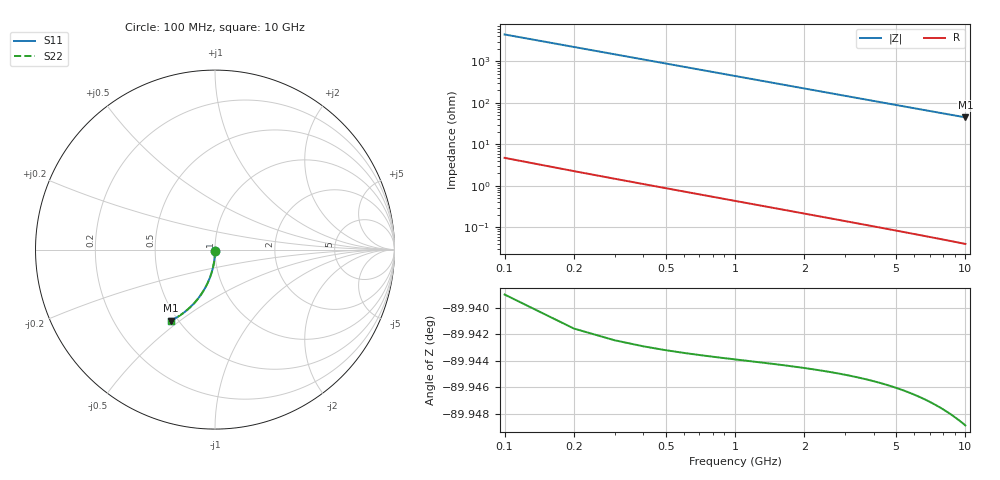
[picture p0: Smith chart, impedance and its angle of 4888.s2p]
# Hz S RI R 50.00
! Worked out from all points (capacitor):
!   100 points, 100 MHz to 10 GHz, reference 50 ohm
!   read as one part in shunt: C = 359 fF near 100 MHz
!   lowest |Z| = 44.7 ohm at 10 GHz (marker M1)
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1e8  0.000128 -0.0053  0.9998 -0.00599  0.9998 -0.00599  0.000128 -0.0053
2e8  2.8e-05 -0.0106  0.9997 -0.012  0.9997 -0.012  2.8e-05 -0.0106
3e8  -0.000135 -0.0159  0.9995 -0.018  0.9995 -0.018  -0.000135 -0.0159
4e8  -0.000362 -0.0212  0.9993 -0.0239  0.9993 -0.0239  -0.000362 -0.0212
5e8  -0.000652 -0.0265  0.999 -0.0299  0.999 -0.0299  -0.000652 -0.0265
6e8  -0.001 -0.0317  0.9986 -0.0359  0.9986 -0.0359  -0.001 -0.0317
7e8  -0.00142 -0.037  0.9982 -0.0418  0.9982 -0.0418  -0.00142 -0.037
8e8  -0.0019 -0.0423  0.9977 -0.0478  0.9977 -0.0478  -0.0019 -0.0423
9e8  -0.00244 -0.0475  0.9972 -0.0537  0.9972 -0.0537  -0.00244 -0.0475
1.1e9  -0.00371 -0.058  0.9959 -0.0656  0.9959 -0.0656  -0.00371 -0.058
1.4e9  -0.00609 -0.0737  0.9935 -0.0833  0.9935 -0.0833  -0.00609 -0.0737
1.8e9  -0.0101 -0.0944  0.9895 -0.1068  0.9895 -0.1068  -0.0101 -0.0944
2.1e9  -0.0138 -0.1097  0.9858 -0.1241  0.9858 -0.1241  -0.0138 -0.1097
2.5e9  -0.0194 -0.1298  0.9801 -0.147  0.9801 -0.147  -0.0194 -0.1298
2.9e9  -0.026 -0.1495  0.9734 -0.1695  0.9734 -0.1695  -0.026 -0.1495
3.4e9  -0.0355 -0.1735  0.9639 -0.197  0.9639 -0.197  -0.0355 -0.1735
4.2e9  -0.0533 -0.2103  0.946 -0.2393  0.946 -0.2393  -0.0533 -0.2103
5.1e9  -0.0767 -0.2488  0.9223 -0.2841  0.9223 -0.2841  -0.0767 -0.2488
5.9e9  -0.1003 -0.2802  0.8985 -0.3211  0.8985 -0.3211  -0.1003 -0.2802
6.7e9  -0.1259 -0.3088  0.8726 -0.3553  0.8726 -0.3553  -0.1259 -0.3088
8.4e9  -0.1853 -0.3597  0.8126 -0.4181  0.8126 -0.4181  -0.1853 -0.3597
1e10  -0.2447 -0.3953  0.7525 -0.4651  0.7525 -0.4651  -0.2447 -0.3953
